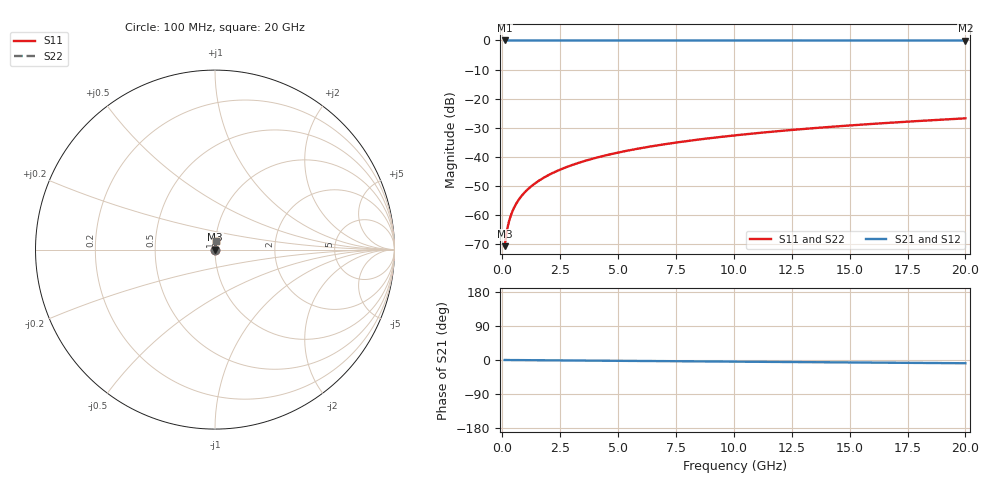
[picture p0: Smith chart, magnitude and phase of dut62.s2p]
! Touchstone file exported from HFSS 2026.1.0
!  File:  C:/ffzhzh/LocalFiles/Ansys_Project_Files/temp_train_TSV_62_1782959070_15332.aedt
!  Generated:  10:25:59 AM Jul  2, 2026
!  Design:  TSV
!  Project:  temp_train_TSV_62_1782959070_15332
! Variables:
!  h_bsmrdl = 2um
!  h_ox = 20um
!  h_rdl = 5um
!  h_sub = 76.11um
!  h_tmrdl = 5um
!  h_tsv = 76.11um
!  h_via = 3um
!  l_bsmrdl = 300um
!  l_sub = 420.28um
!  l_tmrdl = 200um
!  m_sub = 200um
!  pitch = 59.84um
!  r_tsv = 10.14um
!  s_tmrdl = 10um
!  w_bsmrdl = 18um
!  w_sub = 500um
!  w_tmrdl = 12um
!  x_tsv_center1 = 206um
!  x_tsv_center2 = 524um
!  x_tsv_center3 = 736um
!  x_tsv_center4 = 1054um
!  x_tsv_center5 = 1266um
!  x_tsv_center6 = 1584um
# GHz S MA R 50.000000
! Terminal data exported
! Port[1] = TSV1_1_T1
! Port[2] = TSV1_1_T2
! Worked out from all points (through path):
!   200 points, 100 MHz to 20 GHz, reference 50 ohm
!   highest |S21| = 0.00 dB at 100 MHz (marker M1); lowest = 0.0 dB at 20 GHz (marker M2)
!   group delay of S21, straight-line fit = 1.19 ps
!   lowest |S11| = -70.7 dB at 100 MHz (marker M3), VSWR 1.00, Z = 50 + j0.0269 ohm
!   |S11| at or under -10 dB: start of sweep to end of sweep
!   |S22| runs from -70.7 to -26.8 dB; largest |S21 - S12| = 2e-15
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0.1  0.0002931 66.5  0.9999 -0.0  0.9999 -0.0  0.0002931 66.5
! Gamma 0 0 0 0
! Port Impedance 50 0 50 0
0.2  0.0005504 76.6  0.9999 -0.1  0.9999 -0.1  0.0005504 76.6
0.3  0.000811 79.8  0.9999 -0.1  0.9999 -0.1  0.000811 79.8
0.4  0.001069 81.2  0.9998 -0.2  0.9998 -0.2  0.001069 81.2
0.5  0.001322 81.9  0.9998 -0.2  0.9998 -0.2  0.001322 81.9
0.6  0.001571 82.4  0.9998 -0.3  0.9998 -0.3  0.001571 82.4
0.7  0.001817 82.7  0.9998 -0.3  0.9998 -0.3  0.001817 82.7
0.9  0.002299 83.2  0.9997 -0.4  0.9997 -0.4  0.002299 83.2
1.1  0.002774 83.5  0.9997 -0.5  0.9997 -0.5  0.002774 83.5
1.3  0.003245 83.9  0.9997 -0.6  0.9997 -0.6  0.003245 83.9
1.6  0.003948 84.3  0.9996 -0.7  0.9996 -0.7  0.003948 84.3
1.9  0.00465 84.6  0.9996 -0.8  0.9996 -0.8  0.00465 84.6
2.6  0.006286 85.0  0.9996 -1.1  0.9996 -1.1  0.006286 85.0
3.5  0.008386 85.2  0.9995 -1.5  0.9995 -1.5  0.008386 85.2
4.2  0.01001 85.1  0.9994 -1.8  0.9994 -1.8  0.01001 85.1
5  0.01187 85.0  0.9993 -2.2  0.9993 -2.2  0.01187 85.0
6.8  0.01602 84.6  0.9992 -2.9  0.9992 -2.9  0.01602 84.6
8.3  0.01946 84.2  0.9991 -3.6  0.9991 -3.6  0.01946 84.2
10.1  0.02357 83.6  0.9989 -4.3  0.9989 -4.3  0.02357 83.6
13.4  0.03107 82.5  0.9986 -5.8  0.9986 -5.8  0.03107 82.5
16.7  0.03852 81.3  0.9982 -7.2  0.9982 -7.2  0.03852 81.3
20  0.04592 80.0  0.9978 -8.6  0.9978 -8.6  0.04592 80.0
